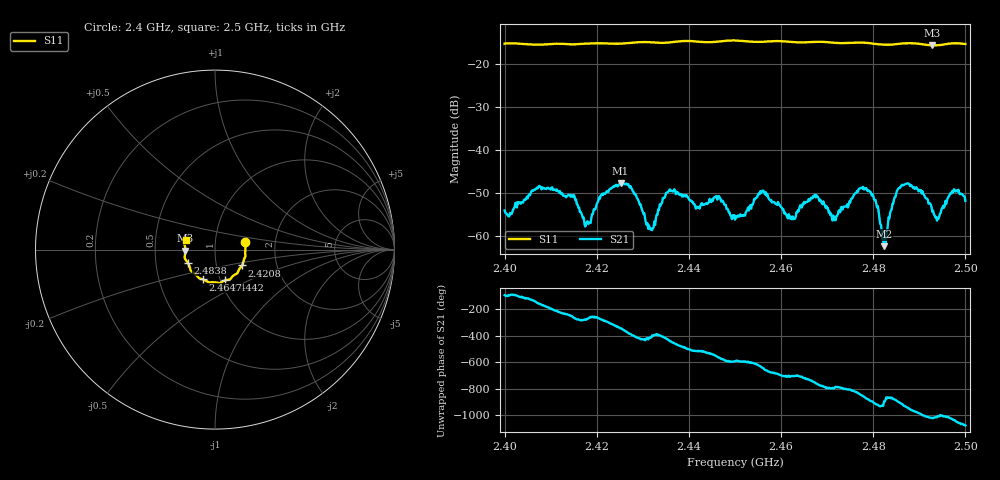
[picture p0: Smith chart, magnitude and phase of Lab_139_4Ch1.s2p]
# Hz S RI R 50
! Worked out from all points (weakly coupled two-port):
!   601 points, 2.4 GHz to 2.5 GHz, reference 50 ohm
!   highest |S21| = -47.69 dB at 2.4252 GHz (marker M1); lowest = -62.4 dB at 2.4823 GHz (marker M2)
!   lowest |S11| = -15.6 dB at 2.4928 GHz (marker M3), VSWR 1.40, Z = 35.8 - j0.389 ohm
!   |S11| at or under -10 dB: start of sweep to end of sweep
!   S12 and S22 are empty: the file has one direction only
!   S11 on the Smith chart (normalised r, x): 2.4 GHz: 1.40, +0.12; 2.4208 GHz: 1.33, -0.24; 2.4442 GHz: 1.05, -0.37; 2.4647 GHz: 0.83, -0.29; 2.4838 GHz: 0.73, -0.11; 2.5 GHz: 0.72, +0.08
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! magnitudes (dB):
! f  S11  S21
! 2.4 GHz  -15.2  -54.1
! 2.4078 GHz  -15.5  -48.6
! 2.4167 GHz  -15.3  -54.7
! 2.4208 GHz  -15.1  -50.6
! 2.4252 GHz  -15.2  -47.7
! 2.4317 GHz  -14.9  -58.5
! 2.4333 GHz  -15.0  -53.8
! 2.4363 GHz  -14.9  -49.6
! 2.4442 GHz  -14.9  -52.3
! 2.45 GHz  -14.5  -56.2
! 2.4558 GHz  -14.8  -49.6
! 2.4625 GHz  -14.8  -55.5
! 2.4647 GHz  -14.9  -52.5
! 2.4667 GHz  -14.8  -51.1
! 2.4715 GHz  -15.0  -56.3
! 2.4788 GHz  -15.1  -49.6
! 2.4823 GHz  -15.5  -62.4
! 2.4833 GHz  -15.5  -55.6
! 2.4838 GHz  -15.5  -54.1
! 2.4873 GHz  -15.1  -47.8
! 2.4928 GHz  -15.6  -54.4
! 2.5 GHz  -15.3  -51.8
